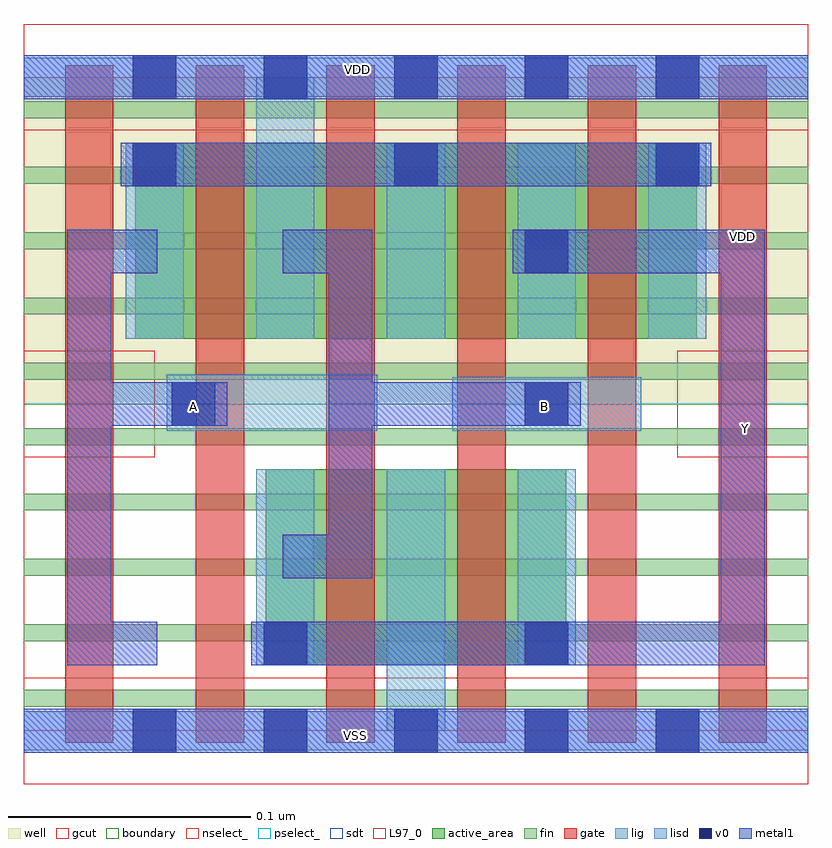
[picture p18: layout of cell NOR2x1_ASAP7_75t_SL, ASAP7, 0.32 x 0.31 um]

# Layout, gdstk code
import gdstk
lib = gdstk.Library(unit=1e-6, precision=2.5e-10)
def R(c, l, rs):  # rectangles x0, y0, x1, y1
    for r in rs: c.add(gdstk.rectangle(r[:2], r[2:], *l))
def A(c, l, x, y, w, h, nx, ny, dx, dy):  # array of equal rectangles
    R(c, l, [(x+i*dx, y+j*dy, x+i*dx+w, y+j*dy+h) for i in range(nx) for j in range(ny)])
def P(c, l, *ps):  # polygons
    for p in ps: c.add(gdstk.Polygon(p, *l))
well = (1, 0)
fin = (2, 0)
gate = (7, 0)
gcut = (10, 0)
active_area = (11, 0)
nselect_ = (12, 0)
pselect_ = (13, 0)
lig = (16, 0)
lisd = (17, 0)
v0 = (18, 0)
metal1 = (19, 0)
sdt = (88, 0)
L97_0 = (97, 0)
boundary = (100, 0)

nor2x1_asap7_75t_sl = lib.new_cell('NOR2x1_ASAP7_75t_SL')
R(nor2x1_asap7_75t_sl, well, [(0,0.135,0.324,0.27)])
A(nor2x1_asap7_75t_sl, fin, 0, 0.01, 0.324, 0.007, 1, 10, 0, 0.027)
A(nor2x1_asap7_75t_sl, gate, 0.017, -0.005, 0.02, 0.28, 6, 1, 0.054, 0)
R(nor2x1_asap7_75t_sl, gcut, [(0,-0.022,0.324,0.022), (0,0.113,0.054,0.157), (0.27,0.113,0.324,0.157), (0,0.248,0.324,0.292)])
R(nor2x1_asap7_75t_sl, active_area, [(0.1,0.027,0.224,0.108), (0.046,0.162,0.278,0.243)])
R(nor2x1_asap7_75t_sl, nselect_, [(0,0,0.324,0.135)])
R(nor2x1_asap7_75t_sl, pselect_, [(0,0.135,0.324,0.27)])
R(nor2x1_asap7_75t_sl, lig, [(0,-0.008,0.324,0.008), (0.059,0.124,0.146,0.147), (0.177,0.124,0.255,0.146), (0,0.262,0.324,0.278)])
A(nor2x1_asap7_75t_sl, lisd, 0.15, 0.162, 0.024, 0.081, 3, 1, 0.054, 0)
R(nor2x1_asap7_75t_sl, lisd, [(0.15,0,0.174,0.108), (0.096,0.027,0.12,0.108), (0.204,0.027,0.228,0.108), (0.042,0.162,0.066,0.243), (0.096,0.162,0.12,0.27)])
A(nor2x1_asap7_75t_sl, v0, 0.045, -0.009, 0.018, 0.018, 5, 2, 0.054, 0.27)
A(nor2x1_asap7_75t_sl, v0, 0.045, 0.225, 0.018, 0.018, 3, 1, 0.108, 0)
R(nor2x1_asap7_75t_sl, v0, [(0.099,0.027,0.117,0.045), (0.207,0.027,0.225,0.045), (0.061,0.126,0.079,0.144), (0.207,0.126,0.225,0.144), (0.207,0.189,0.225,0.207)])
R(nor2x1_asap7_75t_sl, metal1, [(0,-0.009,0.324,0.009), (0.04,0.225,0.284,0.243), (0,0.261,0.324,0.279)])
P(nor2x1_asap7_75t_sl, metal1, [(0.084,0.144),(0.036,0.144),(0.036,0.189),(0.055,0.189),(0.055,0.207),(0.018,0.207),(0.018,0.027),(0.055,0.027),(0.055,0.045),(0.036,0.045),(0.036,0.126),(0.084,0.126)],
  [(0.23,0.144),(0.144,0.144),(0.144,0.207),(0.107,0.207),(0.107,0.189),(0.126,0.189),(0.126,0.081),(0.107,0.081),(0.107,0.063),(0.144,0.063),(0.144,0.126),(0.23,0.126)],
  [(0.306,0.207),(0.202,0.207),(0.202,0.189),(0.288,0.189),(0.288,0.045),(0.094,0.045),(0.094,0.027),(0.306,0.027)])
A(nor2x1_asap7_75t_sl, sdt, 0.096, 0.027, 0.024, 0.081, 3, 1, 0.054, 0)
A(nor2x1_asap7_75t_sl, sdt, 0.042, 0.162, 0.024, 0.081, 5, 1, 0.054, 0)
R(nor2x1_asap7_75t_sl, L97_0, [(0,0,0.324,0.27)])
R(nor2x1_asap7_75t_sl, boundary, [(0,0,0.324,0.27)])
nor2x1_asap7_75t_sl.add(gdstk.Label('VSS', (0.137,-0.002), layer=19, texttype=251))
nor2x1_asap7_75t_sl.add(gdstk.Label('VDD', (0.138,0.273), layer=19, texttype=251))
nor2x1_asap7_75t_sl.add(gdstk.Label('Y', (0.298,0.125), layer=19, texttype=251))
nor2x1_asap7_75t_sl.add(gdstk.Label('A', (0.07,0.134), layer=19, texttype=251))
nor2x1_asap7_75t_sl.add(gdstk.Label('B', (0.215,0.134), layer=19, texttype=251))
nor2x1_asap7_75t_sl.add(gdstk.Label('VDD', (0.297,0.204), layer=1, texttype=251))
nor2x1_asap7_75t_sl.add(gdstk.Label('VSS', (0.366,0.203), layer=3, texttype=251))

lib.write_gds('NOR2x1_ASAP7_75t_SL.gds')
